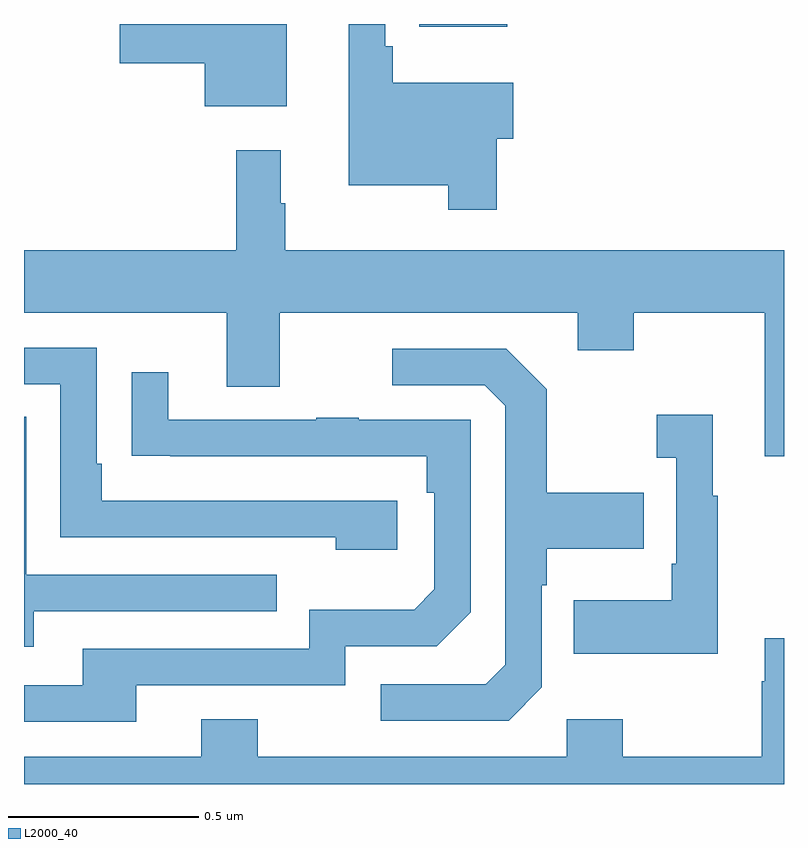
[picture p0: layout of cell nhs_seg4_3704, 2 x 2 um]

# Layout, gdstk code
import gdstk
lib = gdstk.Library(unit=1e-6, precision=1e-09)
def R(c, l, rs):  # rectangles x0, y0, x1, y1
    for r in rs: c.add(gdstk.rectangle(r[:2], r[2:], *l))
def P(c, l, *ps):  # polygons
    for p in ps: c.add(gdstk.Polygon(p, *l))
L2000_40 = (2000, 40)

nhs_seg4_3704 = lib.new_cell('nhs_seg4_3704')
R(nhs_seg4_3704, L2000_40, [(157.04,810.893,157.272,810.9)])
P(nhs_seg4_3704, L2000_40, [(157.244,810.598),(157.288,810.598),(157.288,810.745),(156.971,810.745),(156.971,810.841),(156.951,810.841),(156.951,810.9),(156.854,810.9),(156.854,810.476),(157.116,810.476),(157.116,810.411),(157.244,810.411)],
  [(156.691,810.9),(156.252,810.9),(156.252,810.797),(156.476,810.797),(156.476,810.683),(156.691,810.683)],
  [(158,810.304),(156.688,810.304),(156.688,810.428),(156.676,810.428),(156.676,810.568),(156.559,810.568),(156.559,810.304),(156,810.304),(156,810.14),(156.533,810.14),(156.533,809.946),(156.673,809.946),(156.673,810.14),(157.457,810.14),(157.457,810.041),(157.605,810.041),(157.605,810.14),(157.949,810.14),(157.949,809.763),(158,809.763)],
  [(156.982,809.646),(156.205,809.646),(156.205,809.743),(156.192,809.743),(156.192,810.048),(156,810.048),(156,809.952),(156.096,809.952),(156.096,809.55),(156.821,809.55),(156.821,809.516),(156.982,809.516)],
  [(157.362,809.154),(157.362,809.423),(157.375,809.423),(157.375,809.519),(157.631,809.519),(157.631,809.667),(157.375,809.667),(157.375,809.939),(157.269,810.045),(156.969,810.045),(156.969,809.949),(157.212,809.949),(157.266,809.895),(157.266,809.214),(157.215,809.163),(156.939,809.163),(156.939,809.067),(157.275,809.067)],
  [(156.295,809.16),(156.846,809.16),(156.846,809.262),(157.086,809.262),(157.176,809.352),(157.176,809.859),(156.881,809.859),(156.881,809.864),(156.769,809.864),(156.769,809.859),(156.379,809.859),(156.379,809.983),(156.283,809.983),(156.283,809.764),(156.385,809.764),(156.385,809.763),(157.06,809.763),(157.06,809.666),(157.08,809.666),(157.08,809.412),(157.027,809.359),(156.75,809.359),(156.75,809.256),(156.155,809.256),(156.155,809.16),(156,809.16),(156,809.064),(156.295,809.064)],
  [(157.825,809.659),(157.813,809.659),(157.813,809.872),(157.665,809.872),(157.665,809.759),(157.716,809.759),(157.716,809.479),(157.704,809.479),(157.704,809.383),(157.447,809.383),(157.447,809.243),(157.825,809.243)],
  [(156.025,809.355),(156.665,809.355),(156.665,809.451),(156.006,809.451),(156.006,809.867),(156,809.867),(156,809.261),(156.025,809.261)],
  [(158,809.284),(157.949,809.284),(157.949,809.171),(157.942,809.171),(157.942,808.972),(157.575,808.972),(157.575,809.071),(157.428,809.071),(157.428,808.972),(156.615,808.972),(156.615,809.071),(156.467,809.071),(156.467,808.972),(156,808.972),(156,808.9),(158,808.9)])

lib.write_gds('nhs_seg4_3704.gds')
